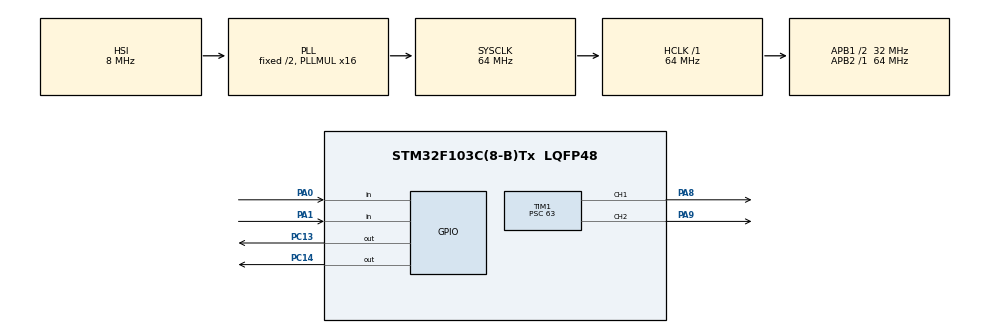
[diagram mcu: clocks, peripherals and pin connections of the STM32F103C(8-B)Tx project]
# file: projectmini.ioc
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Mcu.Family=STM32F1
Mcu.Name=STM32F103C(8-B)Tx
Mcu.Package=LQFP48
NVIC.PriorityGroup=NVIC_PRIORITYGROUP_4
PA0-WKUP.GPIO_PuPd=GPIO_PULLUP
PA0-WKUP.Signal=GPIO_Input
PA1.GPIO_PuPd=GPIO_PULLUP
PA1.Signal=GPIO_Input
PA13.Mode=Serial_Wire
PA13.Signal=SYS_JTMS-SWDIO
PA14.Mode=Serial_Wire
PA14.Signal=SYS_JTCK-SWCLK
PA8.Signal=S_TIM1_CH1
PA9.Signal=S_TIM1_CH2
PC13-TAMPER-RTC.Signal=GPIO_Output
PC14-OSC32_IN.Signal=GPIO_Output
ProjectManager.HeapSize=0x200
ProjectManager.StackSize=0x400
ProjectManager.TargetToolchain=MDK-ARM V5
RCC.AHBFreq_Value=64000000
RCC.APB1CLKDivider=RCC_HCLK_DIV2
RCC.APB1Freq_Value=32000000
RCC.APB1TimFreq_Value=64000000
RCC.APB2Freq_Value=64000000
RCC.APB2TimFreq_Value=64000000
RCC.HCLKFreq_Value=64000000
RCC.PLLMUL=RCC_PLL_MUL16
RCC.SYSCLKFreq_VALUE=64000000
RCC.SYSCLKSource=RCC_SYSCLKSOURCE_PLLCLK
RCC.USBFreq_Value=64000000
SH.S_TIM1_CH1.0=TIM1_CH1,PWM Generation1 CH1
SH.S_TIM1_CH2.0=TIM1_CH2,PWM Generation2 CH2
TIM1.Channel-PWM\ Generation1\ CH1=TIM_CHANNEL_1
TIM1.Channel-PWM\ Generation2\ CH2=TIM_CHANNEL_2
TIM1.Period=1999
TIM1.Prescaler=63
TIM2.Prescaler=63
VP_TIM1_VS_ClockSourceINT.Mode=Internal
VP_TIM2_VS_ClockSourceINT.Mode=Internal
board=custom

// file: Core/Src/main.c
/* USER CODE BEGIN Header */
/**
  ******************************************************************************
  * @file           : main.c
  * @brief          : Main program body
  ******************************************************************************
  * @attention
  *
  * <h2><center>&copy; Copyright (c) 2024 STMicroelectronics.
  * All rights reserved.</center></h2>
  *
  * This software component is licensed by ST under BSD 3-Clause license,
  * the "License"; You may not use this file except in compliance with the
  * License. You may obtain a copy of the License at:
  *                        opensource.org/licenses/BSD-3-Clause
  *
  ******************************************************************************
  */
/* USER CODE END Header */
#include "main.h"

/* USER CODE BEGIN Includes */
#include "prj.h"
/* USER CODE END Includes */

TIM_HandleTypeDef htim1;
TIM_HandleTypeDef htim2;

void SystemClock_Config(void);
static void MX_GPIO_Init(void);
static void MX_TIM1_Init(void);
static void MX_TIM2_Init(void);

/* USER CODE BEGIN 0 */

void HAL_TIM_PeriodElapsedCallback(TIM_HandleTypeDef *htim)
{
	if(htim->Instance == htim1.Instance)
	{

	}
}
void delay_us(uint16_t us)
{
	htim2.Instance->CNT = 0;
	HAL_TIM_Base_Start(&htim2);
	while (htim2.Instance-> CNT < us);
	HAL_TIM_Base_Stop(&htim2);
}
void delay_ms(uint32_t ms)
{
	for(uint32_t i=0 ; i < ms; i++)
	{
		delay_us(1000);
	}
}

Button_Typedef button1;
typedef enum
{
	LED_TOGGLE,
	LED_LIGHT,

}LedStatus;

LedStatus led_status;

void btn_callback(GPIO_TypeDef *GPIOx , uint16_t GPIO_Pin)
{
	if((GPIOx == GPIOA) && (GPIO_Pin == GPIO_PIN_0))
	{

		switch(led_status)
		{
			case LED_LIGHT:
			led_status = LED_TOGGLE;
			break;

			case LED_TOGGLE:
			led_status = LED_LIGHT;
			break;

			break;

			default:
			break;
		}
	}
}
uint32_t a = 1999;
//------ nhap nhay led --------
void led_tg()
{
	htim1.Instance -> CCR1 = 0;
	static uint32_t tled1_blink;
	if(HAL_GetTick() - tled1_blink >= 300)
	{
		HAL_GPIO_TogglePin ( GPIOC, GPIO_PIN_14);
		tled1_blink = HAL_GetTick();
	}
}
//------ giam do sang led --------
void led_light()
{
	HAL_GPIO_WritePin(GPIOC, GPIO_PIN_14, 0);
	htim1.Instance -> CCR1 = a;
	a--;
	delay_ms(2);
	if ( a == 0 )
	{
		a = 1999;
	}
}
void led_handle()
{
	switch(led_status)
	{
		case LED_TOGGLE:
			led_tg();
		break;

		case LED_LIGHT:
			led_light();
		break;

	}
}

/* USER CODE END 0 */

int main(void)
{

  /* MCU Configuration--------------------------------------------------------*/

  /* Reset of all peripherals, Initializes the Flash interface and the Systick. */
  HAL_Init();

  /* Configure the system clock */
  SystemClock_Config();

  /* Initialize all configured peripherals */
  MX_GPIO_Init();
  MX_TIM1_Init();
  MX_TIM2_Init();
  /* USER CODE BEGIN 2 */
		button_init(&button1, GPIOA, GPIO_PIN_0);
		HAL_TIM_PWM_Start (&htim1, TIM_CHANNEL_1);

  /* USER CODE END 2 */

  /* Infinite loop */
  while (1)
  {

    /* USER CODE BEGIN 3 */

		button_handle(&button1);
		led_handle();
	}
  /* USER CODE END 3 */
}

void SystemClock_Config(void)
{
  RCC_OscInitTypeDef RCC_OscInitStruct = {0};
  RCC_ClkInitTypeDef RCC_ClkInitStruct = {0};

  /** Initializes the RCC Oscillators according to the specified parameters
  * in the RCC_OscInitTypeDef structure.
  */
  RCC_OscInitStruct.OscillatorType = RCC_OSCILLATORTYPE_HSI;
  RCC_OscInitStruct.HSIState = RCC_HSI_ON;
  RCC_OscInitStruct.HSICalibrationValue = RCC_HSICALIBRATION_DEFAULT;
  RCC_OscInitStruct.PLL.PLLState = RCC_PLL_ON;
  RCC_OscInitStruct.PLL.PLLSource = RCC_PLLSOURCE_HSI_DIV2;
  RCC_OscInitStruct.PLL.PLLMUL = RCC_PLL_MUL16;
  if (HAL_RCC_OscConfig(&RCC_OscInitStruct) != HAL_OK)
  {
    Error_Handler();
  }
  /** Initializes the CPU, AHB and APB buses clocks
  */
  RCC_ClkInitStruct.ClockType = RCC_CLOCKTYPE_HCLK|RCC_CLOCKTYPE_SYSCLK
                              |RCC_CLOCKTYPE_PCLK1|RCC_CLOCKTYPE_PCLK2;
  RCC_ClkInitStruct.SYSCLKSource = RCC_SYSCLKSOURCE_PLLCLK;
  RCC_ClkInitStruct.AHBCLKDivider = RCC_SYSCLK_DIV1;
  RCC_ClkInitStruct.APB1CLKDivider = RCC_HCLK_DIV2;
  RCC_ClkInitStruct.APB2CLKDivider = RCC_HCLK_DIV1;

  if (HAL_RCC_ClockConfig(&RCC_ClkInitStruct, FLASH_LATENCY_2) != HAL_OK)
  {
    Error_Handler();
  }
}

static void MX_TIM1_Init(void)
{

  TIM_ClockConfigTypeDef sClockSourceConfig = {0};
  TIM_MasterConfigTypeDef sMasterConfig = {0};
  TIM_OC_InitTypeDef sConfigOC = {0};
  TIM_BreakDeadTimeConfigTypeDef sBreakDeadTimeConfig = {0};

  htim1.Instance = TIM1;
  htim1.Init.Prescaler = 63;
  htim1.Init.CounterMode = TIM_COUNTERMODE_UP;
  htim1.Init.Period = 1999;
  htim1.Init.ClockDivision = TIM_CLOCKDIVISION_DIV1;
  htim1.Init.RepetitionCounter = 0;
  htim1.Init.AutoReloadPreload = TIM_AUTORELOAD_PRELOAD_DISABLE;
  if (HAL_TIM_Base_Init(&htim1) != HAL_OK)
  {
    Error_Handler();
  }
  sClockSourceConfig.ClockSource = TIM_CLOCKSOURCE_INTERNAL;
  if (HAL_TIM_ConfigClockSource(&htim1, &sClockSourceConfig) != HAL_OK)
  {
    Error_Handler();
  }
  if (HAL_TIM_PWM_Init(&htim1) != HAL_OK)
  {
    Error_Handler();
  }
  sMasterConfig.MasterOutputTrigger = TIM_TRGO_RESET;
  sMasterConfig.MasterSlaveMode = TIM_MASTERSLAVEMODE_DISABLE;
  if (HAL_TIMEx_MasterConfigSynchronization(&htim1, &sMasterConfig) != HAL_OK)
  {
    Error_Handler();
  }
  sConfigOC.OCMode = TIM_OCMODE_PWM1;
  sConfigOC.Pulse = 0;
  sConfigOC.OCPolarity = TIM_OCPOLARITY_HIGH;
  sConfigOC.OCNPolarity = TIM_OCNPOLARITY_HIGH;
  sConfigOC.OCFastMode = TIM_OCFAST_DISABLE;
  sConfigOC.OCIdleState = TIM_OCIDLESTATE_RESET;
  sConfigOC.OCNIdleState = TIM_OCNIDLESTATE_RESET;
  if (HAL_TIM_PWM_ConfigChannel(&htim1, &sConfigOC, TIM_CHANNEL_1) != HAL_OK)
  {
    Error_Handler();
  }
  if (HAL_TIM_PWM_ConfigChannel(&htim1, &sConfigOC, TIM_CHANNEL_2) != HAL_OK)
  {
    Error_Handler();
  }
  sBreakDeadTimeConfig.OffStateRunMode = TIM_OSSR_DISABLE;
  sBreakDeadTimeConfig.OffStateIDLEMode = TIM_OSSI_DISABLE;
  sBreakDeadTimeConfig.LockLevel = TIM_LOCKLEVEL_OFF;
  sBreakDeadTimeConfig.DeadTime = 0;
  sBreakDeadTimeConfig.BreakState = TIM_BREAK_DISABLE;
  sBreakDeadTimeConfig.BreakPolarity = TIM_BREAKPOLARITY_HIGH;
  sBreakDeadTimeConfig.AutomaticOutput = TIM_AUTOMATICOUTPUT_DISABLE;
  if (HAL_TIMEx_ConfigBreakDeadTime(&htim1, &sBreakDeadTimeConfig) != HAL_OK)
  {
    Error_Handler();
  }
  HAL_TIM_MspPostInit(&htim1);

}

static void MX_TIM2_Init(void)
{

  TIM_ClockConfigTypeDef sClockSourceConfig = {0};
  TIM_MasterConfigTypeDef sMasterConfig = {0};

  htim2.Instance = TIM2;
  htim2.Init.Prescaler = 63;
  htim2.Init.CounterMode = TIM_COUNTERMODE_UP;
  htim2.Init.Period = 65535;
  htim2.Init.ClockDivision = TIM_CLOCKDIVISION_DIV1;
  htim2.Init.AutoReloadPreload = TIM_AUTORELOAD_PRELOAD_DISABLE;
  if (HAL_TIM_Base_Init(&htim2) != HAL_OK)
  {
    Error_Handler();
  }
  sClockSourceConfig.ClockSource = TIM_CLOCKSOURCE_INTERNAL;
  if (HAL_TIM_ConfigClockSource(&htim2, &sClockSourceConfig) != HAL_OK)
  {
    Error_Handler();
  }
  sMasterConfig.MasterOutputTrigger = TIM_TRGO_RESET;
  sMasterConfig.MasterSlaveMode = TIM_MASTERSLAVEMODE_DISABLE;
  if (HAL_TIMEx_MasterConfigSynchronization(&htim2, &sMasterConfig) != HAL_OK)
  {
    Error_Handler();
  }

}

static void MX_GPIO_Init(void)
{
  GPIO_InitTypeDef GPIO_InitStruct = {0};

  /* GPIO Ports Clock Enable */
  __HAL_RCC_GPIOC_CLK_ENABLE();
  __HAL_RCC_GPIOA_CLK_ENABLE();

  /*Configure GPIO pin Output Level */
  HAL_GPIO_WritePin(GPIOC, GPIO_PIN_13|GPIO_PIN_14, GPIO_PIN_RESET);

  /*Configure GPIO pins : PC13 PC14 */
  GPIO_InitStruct.Pin = GPIO_PIN_13|GPIO_PIN_14;
  GPIO_InitStruct.Mode = GPIO_MODE_OUTPUT_PP;
  GPIO_InitStruct.Pull = GPIO_NOPULL;
  GPIO_InitStruct.Speed = GPIO_SPEED_FREQ_LOW;
  HAL_GPIO_Init(GPIOC, &GPIO_InitStruct);

  /*Configure GPIO pins : PA0 PA1 */
  GPIO_InitStruct.Pin = GPIO_PIN_0|GPIO_PIN_1;
  GPIO_InitStruct.Mode = GPIO_MODE_INPUT;
  GPIO_InitStruct.Pull = GPIO_PULLUP;
  HAL_GPIO_Init(GPIOA, &GPIO_InitStruct);

}

void Error_Handler(void)
{
}

/************************ (C) COPYRIGHT STMicroelectronics *****END OF FILE****/
